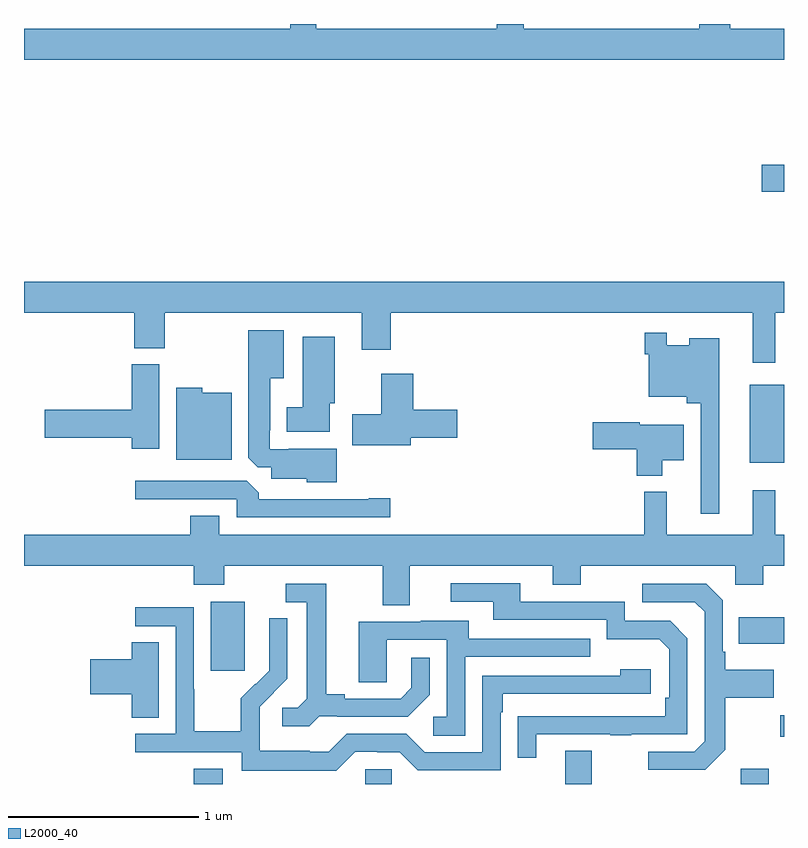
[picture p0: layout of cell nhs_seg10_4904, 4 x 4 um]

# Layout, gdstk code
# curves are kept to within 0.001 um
import gdstk
lib = gdstk.Library(unit=1e-6, precision=1e-09)
def R(c, l, rs):  # rectangles x0, y0, x1, y1
    for r in rs: c.add(gdstk.rectangle(r[:2], r[2:], *l))
def P(c, l, *ps):  # polygons
    for p in ps: c.add(gdstk.Polygon(p, *l))
L2000_40 = (2000, 40)

nhs_seg10_4904 = lib.new_cell('nhs_seg10_4904')
R(nhs_seg10_4904, L2000_40, [(393.893,1300.5,394.045,1300.579), (394.797,1300.5,394.935,1300.578), (395.849,1300.5,395.989,1300.675), (396.773,1300.5,396.921,1300.579), (396.981,1300.749,397,1300.862), (393.983,1301.097,394.162,1301.458), (396.763,1301.237,397,1301.377), (396.821,1302.191,397,1302.601), (396.882,1303.618,397,1303.76)])
P(nhs_seg10_4904, L2000_40, [(397,1304.476),(396.718,1304.476),(396.718,1304.5),(396.554,1304.5),(396.554,1304.476),(395.629,1304.476),(395.629,1304.5),(395.489,1304.5),(395.489,1304.476),(394.539,1304.476),(394.539,1304.5),(394.4,1304.5),(394.4,1304.476),(393,1304.476),(393,1304.312),(397,1304.312)],
  [(396.953,1302.98),(397,1302.98),(397,1303.144),(393,1303.144),(393,1302.98),(393.581,1302.98),(393.581,1302.793),(393.741,1302.793),(393.741,1302.98),(394.778,1302.98),(394.778,1302.786),(394.931,1302.786),(394.931,1302.98),(396.836,1302.98),(396.836,1302.717),(396.953,1302.717)],
  [(394.645,1302.265),(394.393,1302.265),(394.393,1302.261),(394.293,1302.261),(394.293,1302.361),(394.297,1302.361),(394.297,1302.635),(394.366,1302.635),(394.366,1302.889),(394.181,1302.889),(394.181,1302.217),(394.23,1302.168),(394.301,1302.168),(394.301,1302.107),(394.488,1302.107),(394.488,1302.089),(394.645,1302.089)],
  [(396.658,1302.847),(396.5,1302.847),(396.5,1302.808),(396.384,1302.808),(396.384,1302.874),(396.268,1302.874),(396.268,1302.761),(396.288,1302.761),(396.288,1302.539),(396.488,1302.539),(396.488,1302.503),(396.561,1302.503),(396.561,1301.922),(396.658,1301.922)],
  [(394.609,1302.504),(394.636,1302.504),(394.636,1302.853),(394.466,1302.853),(394.466,1302.484),(394.382,1302.484),(394.382,1302.353),(394.609,1302.353)],
  [(393.712,1302.708),(393.566,1302.708),(393.566,1302.47),(393.108,1302.47),(393.108,1302.323),(393.566,1302.323),(393.566,1302.264),(393.712,1302.264)],
  [(395.035,1302.323),(395.281,1302.323),(395.281,1302.47),(395.048,1302.47),(395.048,1302.658),(394.88,1302.658),(394.88,1302.447),(394.728,1302.447),(394.728,1302.284),(395.035,1302.284)],
  [(394.093,1302.559),(393.939,1302.559),(393.939,1302.586),(393.8,1302.586),(393.8,1302.206),(394.093,1302.206)],
  [(396.358,1302.203),(396.472,1302.203),(396.472,1302.391),(396.24,1302.391),(396.24,1302.404),(395.994,1302.404),(395.994,1302.262),(396.224,1302.262),(396.224,1302.122),(396.358,1302.122)],
  [(394.927,1302.005),(394.814,1302.005),(394.814,1302),(394.235,1302),(394.235,1302.034),(394.173,1302.096),(393.585,1302.096),(393.585,1302),(394.119,1302),(394.119,1301.904),(394.927,1301.904)],
  [(396.836,1301.812),(396.383,1301.812),(396.383,1302.037),(396.265,1302.037),(396.265,1301.812),(394.027,1301.812),(394.027,1301.911),(393.875,1301.911),(393.875,1301.812),(393,1301.812),(393,1301.648),(393.893,1301.648),(393.893,1301.549),(394.053,1301.549),(394.053,1301.648),(394.889,1301.648),(394.889,1301.44),(395.029,1301.44),(395.029,1301.648),(395.783,1301.648),(395.783,1301.549),(395.931,1301.549),(395.931,1301.648),(396.744,1301.648),(396.744,1301.549),(396.891,1301.549),(396.891,1301.648),(397,1301.648),(397,1301.812),(396.953,1301.812),(396.953,1302.046),(396.836,1302.046)],
  [(395.695,1300.761),(396.085,1300.761),(396.085,1300.756),(396.197,1300.756),(396.197,1300.761),(396.492,1300.761),(396.492,1301.268),(396.402,1301.358),(396.162,1301.358),(396.162,1301.46),(395.611,1301.46),(395.611,1301.556),(395.247,1301.556),(395.247,1301.46),(395.471,1301.46),(395.471,1301.364),(396.066,1301.364),(396.066,1301.261),(396.343,1301.261),(396.396,1301.208),(396.396,1300.954),(396.376,1300.954),(396.376,1300.857),(395.599,1300.856),(395.599,1300.638),(395.695,1300.638)],
  [(396.691,1300.681),(396.691,1300.954),(396.947,1300.954),(396.947,1301.101),(396.691,1301.101),(396.691,1301.197),(396.678,1301.197),(396.678,1301.466),(396.591,1301.553),(396.255,1301.553),(396.255,1301.457),(396.531,1301.457),(396.582,1301.406),(396.582,1300.725),(396.528,1300.671),(396.285,1300.671),(396.285,1300.575),(396.585,1300.575)],
  [(394.554,1300.857),(394.648,1300.857),(394.648,1300.854),(395.02,1300.854),(395.136,1300.97),(395.136,1301.164),(395.039,1301.164),(395.039,1301.007),(394.982,1300.95),(394.687,1300.95),(394.687,1300.973),(394.591,1300.973),(394.591,1301.553),(394.377,1301.553),(394.377,1301.457),(394.487,1301.457),(394.487,1300.949),(394.44,1300.902),(394.359,1300.902),(394.359,1300.805),(394.502,1300.805)],
  [(394.743,1300.671),(394.859,1300.671),(394.859,1300.668),(394.977,1300.668),(395.073,1300.572),(395.508,1300.572),(395.508,1300.877),(395.521,1300.877),(395.521,1300.974),(396.298,1300.974),(396.298,1301.104),(396.137,1301.104),(396.137,1301.07),(395.412,1301.07),(395.412,1300.668),(395.109,1300.668),(395.013,1300.764),(394.698,1300.764),(394.605,1300.671),(394.505,1300.671),(394.505,1300.675),(394.242,1300.675),(394.242,1300.809),(394.24,1300.809),(394.24,1300.906),(394.386,1301.054),(394.386,1301.372),(394.29,1301.372),(394.29,1301.218),(394.292,1301.218),(394.292,1301.096),(394.221,1301.025),(394.218,1301.028),(394.141,1300.951),(394.141,1300.777),(393.897,1300.777),(393.897,1301),(393.894,1301),(393.894,1301.43),(393.585,1301.43),(393.585,1301.331),(393.798,1301.331),(393.798,1300.764),(393.585,1300.764),(393.585,1300.668),(394.146,1300.668),(394.146,1300.571),(394.643,1300.571)],
  [(395.322,1301.169),(395.981,1301.169),(395.981,1301.265),(395.341,1301.265),(395.341,1301.359),(395.087,1301.359),(395.087,1301.355),(394.763,1301.355),(394.763,1301.035),(394.908,1301.035),(394.908,1301.259),(395.226,1301.259),(395.226,1300.854),(395.154,1300.854),(395.154,1300.753),(395.322,1300.753)],
  [(393.709,1301.246),(393.566,1301.246),(393.566,1301.156),(393.348,1301.156),(393.348,1300.973),(393.566,1300.973),(393.566,1300.849),(393.709,1300.849)])

lib.write_gds('nhs_seg10_4904.gds')
